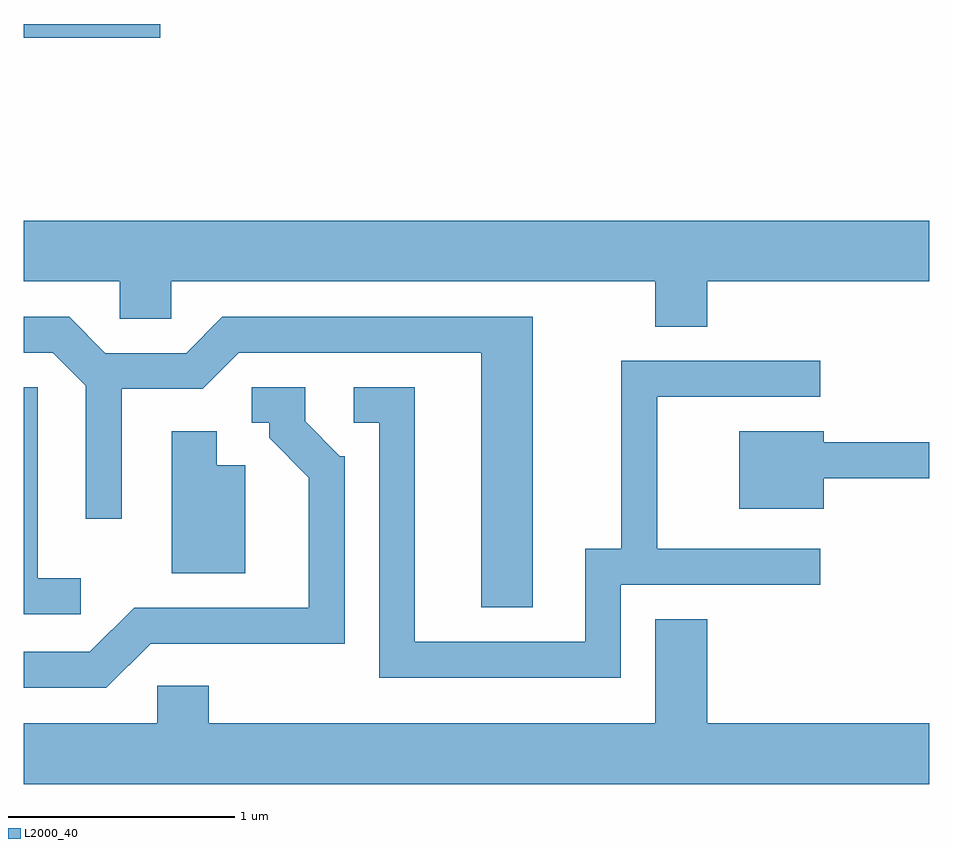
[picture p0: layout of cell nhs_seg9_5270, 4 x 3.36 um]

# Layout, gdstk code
import gdstk
lib = gdstk.Library(unit=1e-6, precision=1e-09)
def R(c, l, rs):  # rectangles x0, y0, x1, y1
    for r in rs: c.add(gdstk.rectangle(r[:2], r[2:], *l))
def P(c, l, *ps):  # polygons
    for p in ps: c.add(gdstk.Polygon(p, *l))
L2000_40 = (2000, 40)

nhs_seg9_5270 = lib.new_cell('nhs_seg9_5270')
R(nhs_seg9_5270, L2000_40, [(339.611,2068.371,340.214,2068.432)])
P(nhs_seg9_5270, L2000_40, [(342.629,2067.296),(343.611,2067.296),(343.611,2067.564),(339.611,2067.564),(339.611,2067.296),(340.036,2067.296),(340.036,2067.131),(340.264,2067.131),(340.264,2067.296),(342.401,2067.296),(342.401,2067.096),(342.629,2067.096)],
  [(341.859,2067.139),(340.489,2067.139),(340.329,2066.979),(339.972,2066.979),(339.812,2067.139),(339.611,2067.139),(339.611,2066.981),(339.739,2066.981),(339.886,2066.834),(339.886,2066.248),(340.044,2066.248),(340.044,2066.821),(340.402,2066.821),(340.562,2066.981),(341.631,2066.981),(341.631,2065.856),(341.859,2065.856)],
  [(342.249,2065.956),(343.128,2065.956),(343.128,2066.114),(342.409,2066.114),(342.409,2066.786),(343.128,2066.786),(343.128,2066.944),(342.251,2066.944),(342.251,2066.114),(342.091,2066.114),(342.091,2065.704),(341.339,2065.704),(341.339,2066.829),(341.068,2066.829),(341.068,2066.671),(341.181,2066.671),(341.181,2065.546),(342.249,2065.546)],
  [(339.863,2065.984),(339.674,2065.984),(339.674,2066.829),(339.611,2066.829),(339.611,2065.826),(339.863,2065.826)],
  [(340.172,2065.696),(341.029,2065.696),(341.029,2066.524),(341.007,2066.524),(340.854,2066.677),(340.854,2066.829),(340.618,2066.829),(340.618,2066.671),(340.696,2066.671),(340.696,2066.604),(340.871,2066.429),(340.871,2065.854),(340.099,2065.854),(339.904,2065.659),(339.611,2065.659),(339.611,2065.501),(339.977,2065.501)],
  [(343.144,2066.426),(343.611,2066.426),(343.611,2066.584),(343.144,2066.584),(343.144,2066.634),(342.771,2066.634),(342.771,2066.291),(343.144,2066.291)],
  [(340.589,2066.484),(340.464,2066.484),(340.464,2066.634),(340.266,2066.634),(340.266,2066.006),(340.589,2066.006)],
  [(343.611,2065.344),(342.629,2065.344),(342.629,2065.804),(342.401,2065.804),(342.401,2065.344),(340.429,2065.344),(340.429,2065.509),(340.201,2065.509),(340.201,2065.344),(339.611,2065.344),(339.611,2065.076),(343.611,2065.076)])

lib.write_gds('nhs_seg9_5270.gds')
